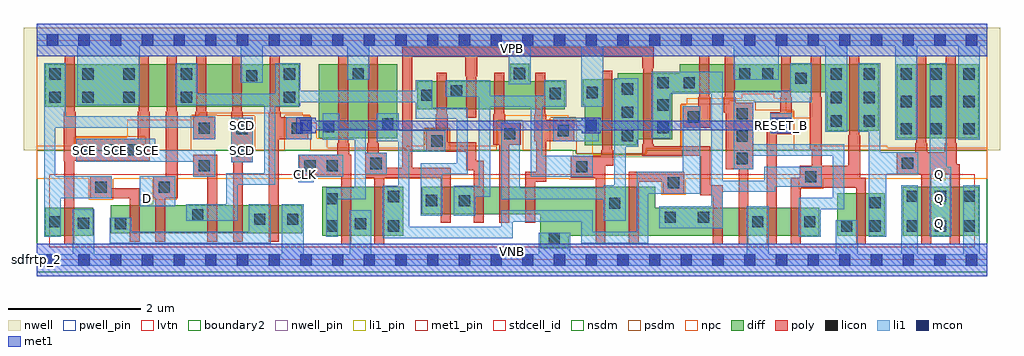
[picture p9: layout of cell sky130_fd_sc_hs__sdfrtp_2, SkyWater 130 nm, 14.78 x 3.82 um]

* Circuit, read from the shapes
.subckt sky130_fd_sc_hs__sdfrtp_2 CLK D Q RESET_B SCD SCE VGND VNB VPB VPWR
XM1 VGND SCE n1 VNB sky130_fd_pr__nfet_01v8_lvt w=0.42 l=0.15
XM2 n2 n1 n3 VNB sky130_fd_pr__nfet_01v8_lvt w=0.42 l=0.15
XM3 n4 D n2 VNB sky130_fd_pr__nfet_01v8_lvt w=0.42 l=0.15
XM4 n5 SCE n4 VNB sky130_fd_pr__nfet_01v8_lvt w=0.42 l=0.15
XM5 n3 SCD n5 VNB sky130_fd_pr__nfet_01v8_lvt w=0.42 l=0.15
XM6 VGND RESET_B n3 VNB sky130_fd_pr__nfet_01v8_lvt w=0.42 l=0.15
XM7 VGND CLK n6 VNB sky130_fd_pr__nfet_01v8_lvt w=0.74 l=0.15
XM8 n7 n6 VGND VNB sky130_fd_pr__nfet_01v8_lvt w=0.74 l=0.15
XM9 n8 n6 n4 VNB sky130_fd_pr__nfet_01v8_lvt w=0.42 l=0.15
XM10 n9 n7 n8 VNB sky130_fd_pr__nfet_01v8_lvt w=0.42 l=0.15
XM11 n10 n11 n9 VNB sky130_fd_pr__nfet_01v8_lvt w=0.42 l=0.15
XM12 VGND RESET_B n10 VNB sky130_fd_pr__nfet_01v8_lvt w=0.42 l=0.15
XM13 n11 n8 VGND VNB sky130_fd_pr__nfet_01v8_lvt w=0.74 l=0.15
XM14 n12 n7 n11 VNB sky130_fd_pr__nfet_01v8_lvt w=0.74 l=0.15
XM15 n13 n6 n12 VNB sky130_fd_pr__nfet_01v8_lvt w=0.42 l=0.15
XM16 VGND n14 n13 VNB sky130_fd_pr__nfet_01v8_lvt w=0.42 l=0.15
XM17 n15 RESET_B VGND VNB sky130_fd_pr__nfet_01v8_lvt w=0.42 l=0.15
XM18 n14 n12 n15 VNB sky130_fd_pr__nfet_01v8_lvt w=0.42 l=0.15
XM19 n16 n12 VGND VNB sky130_fd_pr__nfet_01v8_lvt w=0.64 l=0.15
XM20 Q n16 VGND VNB sky130_fd_pr__nfet_01v8_lvt w=0.74 l=0.15 m=2
XM21 VPWR SCE n1 VPB sky130_fd_pr__pfet_01v8 w=0.64 l=0.15
XM22 n17 SCE VPWR VPB sky130_fd_pr__pfet_01v8 w=0.64 l=0.15
XM23 n4 D n17 VPB sky130_fd_pr__pfet_01v8 w=0.64 l=0.15
XM24 n18 n1 n4 VPB sky130_fd_pr__pfet_01v8 w=0.64 l=0.15
XM25 VPWR SCD n18 VPB sky130_fd_pr__pfet_01v8 w=0.64 l=0.15
XM26 n4 RESET_B VPWR VPB sky130_fd_pr__pfet_01v8 w=0.64 l=0.15
XM27 VPWR CLK n6 VPB sky130_fd_pr__pfet_01v8 w=1.12 l=0.15
XM28 n7 n6 VPWR VPB sky130_fd_pr__pfet_01v8 w=1.12 l=0.15
XM29 n8 n7 n4 VPB sky130_fd_pr__pfet_01v8 w=0.42 l=0.15
XM30 n19 n6 n8 VPB sky130_fd_pr__pfet_01v8 w=0.42 l=0.15
XM31 VPWR n11 n19 VPB sky130_fd_pr__pfet_01v8 w=0.42 l=0.15
XM32 n8 RESET_B VPWR VPB sky130_fd_pr__pfet_01v8 w=0.42 l=0.15
XM33 n11 n8 VPWR VPB sky130_fd_pr__pfet_01v8 w=1 l=0.15
XM34 n12 n6 n11 VPB sky130_fd_pr__pfet_01v8 w=1 l=0.15
XM35 n20 n7 n12 VPB sky130_fd_pr__pfet_01v8 w=0.42 l=0.15
XM36 VPWR n14 n20 VPB sky130_fd_pr__pfet_01v8 w=0.42 l=0.15
XM37 n14 RESET_B VPWR VPB sky130_fd_pr__pfet_01v8 w=0.42 l=0.15
XM38 VPWR n12 n14 VPB sky130_fd_pr__pfet_01v8 w=0.42 l=0.15
XM39 n16 n12 VPWR VPB sky130_fd_pr__pfet_01v8 w=1 l=0.15
XM40 Q n16 VPWR VPB sky130_fd_pr__pfet_01v8 w=1.12 l=0.15 m=2
.ends

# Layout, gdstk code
import gdstk
lib = gdstk.Library(unit=1e-6, precision=1e-09)
def R(c, l, rs):  # rectangles x0, y0, x1, y1
    for r in rs: c.add(gdstk.rectangle(r[:2], r[2:], *l))
def A(c, l, x, y, w, h, nx, ny, dx, dy):  # array of equal rectangles
    R(c, l, [(x+i*dx, y+j*dy, x+i*dx+w, y+j*dy+h) for i in range(nx) for j in range(ny)])
def P(c, l, *ps):  # polygons
    for p in ps: c.add(gdstk.Polygon(p, *l))
nwell_pin = (64, 16)
nwell = (64, 20)
diff = (65, 20)
poly = (66, 20)
licon = (66, 44)
li1_pin = (67, 16)
li1 = (67, 20)
mcon = (67, 44)
met1_pin = (68, 16)
met1 = (68, 20)
stdcell_id = (81, 4)
nsdm = (93, 44)
psdm = (94, 20)
npc = (95, 20)
pwell_pin = (122, 16)
lvtn = (125, 44)
boundary2 = (236, 0)

sky130_fd_sc_hs__sdfrtp_ = lib.new_cell('sky130_fd_sc_hs__sdfrtp_2')
R(sky130_fd_sc_hs__sdfrtp_, nwell_pin, [(0,3.085,14.4,3.33)])
P(sky130_fd_sc_hs__sdfrtp_, nwell, [(14.59,3.52),(-0.19,3.52),(-0.19,1.66),(8.12,1.66),(8.12,1.555),(9.78,1.555),(9.78,1.66),(14.59,1.66)])
R(sky130_fd_sc_hs__sdfrtp_, diff, [(0.135,0.37,0.855,0.79), (4.33,0.37,5.55,1.11), (12.125,0.37,12.845,1.01), (13.115,0.37,14.265,1.11), (1.125,0.405,4.025,0.825), (4.275,1.84,5.465,2.96), (13.025,1.84,14.265,2.96), (0.135,2.32,3.975,2.96)])
P(sky130_fd_sc_hs__sdfrtp_, diff, [(8,2.705),(7.465,2.705),(7.465,2.97),(7.17,2.97),(7.17,2.705),(5.765,2.705),(5.765,2.285),(8,2.285)],
  [(11.855,0.79),(9.37,0.79),(9.37,1.11),(5.835,1.11),(5.835,0.69),(7.625,0.69),(7.625,0.18),(8.06,0.18),(8.06,0.37),(11.855,0.37)],
  [(12.755,2.96),(9.74,2.96),(9.74,2.83),(8.805,2.83),(8.805,2.735),(8.27,2.735),(8.27,2.34),(8.3,2.34),(8.3,1.735),(9.095,1.735),(9.095,1.83),(9.625,1.83),(9.625,2.54),(11.965,2.54),(11.965,1.96),(12.755,1.96)])
P(sky130_fd_sc_hs__sdfrtp_, poly, [(7.33,2.075),(7.095,2.075),(7.095,2.21),(7.08,2.21),(7.08,2.835),(6.93,2.835),(6.93,2.21),(6.915,2.21),(6.915,1.745),(7.01,1.745),(7.01,0.56),(7.16,0.56),(7.16,1.745),(7.33,1.745)],
  [(6.77,1.505),(6.66,1.505),(6.66,1.785),(6.23,1.785),(6.23,1.965),(6.225,1.965),(6.225,2.21),(6.21,2.21),(6.21,2.835),(6.06,2.835),(6.06,2.21),(6.045,2.21),(6.045,1.965),(5.9,1.965),(5.9,1.635),(6.51,1.635),(6.51,1.355),(6.62,1.355),(6.62,0.56),(6.77,0.56)],
  [(4.765,1.59),(4.735,1.59),(4.735,1.765),(4.72,1.765),(4.72,3.09),(4.57,3.09),(4.57,1.765),(4.555,1.765),(4.555,1.59),(3.975,1.59),(3.975,1.26),(4.615,1.26),(4.615,0.24),(4.765,0.24)],
  [(4.115,2.16),(3.695,2.16),(3.695,2.245),(3.68,2.245),(3.68,3.09),(3.53,3.09),(3.53,2.245),(3.515,2.245),(3.515,1.83),(3.52,1.83),(3.52,0.275),(3.67,0.275),(3.67,1.83),(4.115,1.83)],
  [(3.275,2.15),(3.125,2.15),(3.125,2.245),(3.11,2.245),(3.11,3.09),(2.96,3.09),(2.96,2.245),(2.945,2.245),(2.945,1.48),(2.975,1.48),(2.975,0.275),(3.125,0.275),(3.125,1.48),(3.275,1.48)],
  [(2.735,1.59),(2.375,1.59),(2.375,1.26),(2.585,1.26),(2.585,0.275),(2.735,0.275)],
  [(2.705,2.16),(2.585,2.16),(2.585,2.245),(2.57,2.245),(2.57,3.09),(2.42,3.09),(2.42,2.245),(2.405,2.245),(2.405,2.16),(2.375,2.16),(2.375,1.83),(2.705,1.83)],
  [(2.135,2.245),(2.12,2.245),(2.12,3.09),(1.97,3.09),(1.97,2.245),(1.955,2.245),(1.955,1.265),(1.77,1.265),(1.77,0.935),(1.8,0.935),(1.8,0.275),(1.95,0.275),(1.95,0.935),(2.135,0.935)],
  [(1.715,2.245),(1.7,2.245),(1.7,3.09),(1.55,3.09),(1.55,2.245),(1.535,2.245),(1.535,1.835),(0.595,1.835),(0.595,2.245),(0.58,2.245),(0.58,3.09),(0.43,3.09),(0.43,2.245),(0.415,2.245),(0.415,1.505),(0.42,1.505),(0.42,0.24),(0.57,0.24),(0.57,1.505),(1.715,1.505)],
  [(1.56,1.085),(1.14,1.085),(1.14,1.265),(0.81,1.265),(0.81,0.935),(1.41,0.935),(1.41,0.275),(1.56,0.275)],
  [(8.14,2.125),(7.72,2.125),(7.72,2.21),(7.705,2.21),(7.705,2.835),(7.555,2.835),(7.555,2.21),(7.54,2.21),(7.54,1.795),(7.57,1.795),(7.57,1.335),(7.4,1.335),(7.4,0.56),(7.55,0.56),(7.55,1.185),(7.72,1.185),(7.72,1.795),(8.14,1.795)],
  [(8.73,1.66),(8.715,1.66),(8.715,2.865),(8.565,2.865),(8.565,1.66),(8.55,1.66),(8.55,1.575),(8.09,1.575),(8.09,1.245),(8.465,1.245),(8.465,0.24),(8.615,0.24),(8.615,1.425),(8.73,1.425)],
  [(9.81,1.335),(8.97,1.335),(8.97,0.24),(9.12,0.24),(9.12,1.185),(9.48,1.185),(9.48,1.005),(9.81,1.005)],
  [(10.2,2.465),(10.185,2.465),(10.185,3.09),(10.035,3.09),(10.035,2.465),(10.02,2.465),(10.02,2.33),(9.785,2.33),(9.785,2),(10.2,2)],
  [(10.39,1.13),(10.2,1.13),(10.2,1.725),(9.35,1.725),(9.35,1.755),(9.335,1.755),(9.335,2.905),(9.35,2.905),(9.35,3.225),(5.54,3.225),(5.54,1.395),(5.305,1.395),(5.305,1.625),(5.185,1.625),(5.185,1.765),(5.17,1.765),(5.17,3.09),(5.02,3.09),(5.02,1.765),(5.005,1.765),(5.005,1.625),(4.975,1.625),(4.975,1.245),(5.115,1.245),(5.115,0.24),(5.265,0.24),(5.265,1.245),(6.12,1.245),(6.12,0.56),(6.27,0.56),(6.27,1.395),(5.69,1.395),(5.69,3.075),(6.495,3.075),(6.495,2.78),(6.51,2.78),(6.51,2.155),(6.66,2.155),(6.66,2.78),(6.675,2.78),(6.675,3.075),(9.17,3.075),(9.17,2.905),(9.185,2.905),(9.185,1.755),(9.17,1.755),(9.17,1.575),(10.05,1.575),(10.05,0.98),(10.24,0.98),(10.24,0.24),(10.39,0.24)],
  [(10.85,2.38),(10.59,2.38),(10.59,2.465),(10.575,2.465),(10.575,3.09),(10.425,3.09),(10.425,2.465),(10.41,2.465),(10.41,2.23),(10.44,2.23),(10.44,1.37),(10.63,1.37),(10.63,0.24),(10.78,0.24),(10.78,1.37),(10.85,1.37)],
  [(11.44,2.465),(11.425,2.465),(11.425,3.09),(11.275,3.09),(11.275,2.465),(11.26,2.465),(11.26,2.235),(11.11,2.235),(11.11,2.055),(11.06,2.055),(11.06,0.24),(11.21,0.24),(11.21,1.905),(11.44,1.905)],
  [(12.56,1.245),(12.475,1.245),(12.475,1.885),(12.46,1.885),(12.46,3.09),(12.31,3.09),(12.31,1.885),(12.295,1.885),(12.295,1.425),(11.89,1.425),(11.89,2.465),(11.875,2.465),(11.875,3.09),(11.725,3.09),(11.725,2.465),(11.71,2.465),(11.71,1.665),(11.74,1.665),(11.74,1.425),(11.56,1.425),(11.56,1.245),(11.42,1.245),(11.42,0.24),(11.57,0.24),(11.57,1.095),(12.41,1.095),(12.41,0.24),(12.56,0.24)],
  [(13.98,1.45),(13.935,1.45),(13.935,1.765),(13.92,1.765),(13.92,3.09),(13.77,3.09),(13.77,1.765),(13.755,1.765),(13.755,1.63),(13.485,1.63),(13.485,1.765),(13.47,1.765),(13.47,3.09),(13.32,3.09),(13.32,1.765),(13.305,1.765),(13.305,1.63),(13.025,1.63),(13.025,1.3),(13.4,1.3),(13.4,0.24),(13.55,0.24),(13.55,1.3),(13.83,1.3),(13.83,0.24),(13.98,0.24)])
A(sky130_fd_sc_hs__sdfrtp_, licon, 13.175, 0.43, 0.17, 0.17, 3, 2, 0.43, 0.45)
A(sky130_fd_sc_hs__sdfrtp_, licon, 10.6, 1.45, 0.17, 0.17, 1, 3, 0, 0.34)
A(sky130_fd_sc_hs__sdfrtp_, licon, 0.685, 1.585, 0.17, 0.17, 3, 1, 0.34, 0)
A(sky130_fd_sc_hs__sdfrtp_, licon, 8.865, 1.795, 0.17, 0.17, 1, 3, 0, 0.355)
A(sky130_fd_sc_hs__sdfrtp_, licon, 13.085, 1.9, 0.17, 0.17, 1, 3, 0, 0.415)
A(sky130_fd_sc_hs__sdfrtp_, licon, 13.535, 1.9, 0.17, 0.17, 1, 3, 0, 0.415)
A(sky130_fd_sc_hs__sdfrtp_, licon, 14.035, 1.9, 0.17, 0.17, 1, 3, 0, 0.415)
A(sky130_fd_sc_hs__sdfrtp_, licon, 9.4, 1.92, 0.17, 0.17, 1, 3, 0, 0.34)
A(sky130_fd_sc_hs__sdfrtp_, licon, 12.025, 2.02, 0.17, 0.17, 1, 3, 0, 0.355)
A(sky130_fd_sc_hs__sdfrtp_, licon, 12.525, 2.02, 0.17, 0.17, 1, 3, 0, 0.355)
R(sky130_fd_sc_hs__sdfrtp_, licon, [(7.755,0.24,7.925,0.41), (4.39,0.43,4.56,0.6), (5.32,0.43,5.49,0.6), (12.185,0.43,12.355,0.6), (12.615,0.43,12.785,0.6), (1.185,0.465,1.355,0.635), (4.82,0.465,4.99,0.635), (0.625,0.47,0.795,0.64), (0.195,0.495,0.365,0.665), (10.835,0.495,11.005,0.665), (11.625,0.495,11.795,0.665), (3.295,0.53,3.465,0.7), (3.795,0.53,3.965,0.7), (9.51,0.56,9.68,0.73), (10.015,0.56,10.185,0.73), (2.355,0.595,2.525,0.765), (8.67,0.775,8.84,0.945), (12.615,0.78,12.785,0.95), (6.395,0.81,6.565,0.98), (5.895,0.815,6.065,0.985), (4.39,0.84,4.56,1.01), (5.32,0.875,5.49,1.045), (0.89,1.015,1.06,1.185), (1.85,1.015,2.02,1.185), (9.56,1.085,9.73,1.255), (11.64,1.175,11.81,1.345), (8.17,1.325,8.34,1.495), (2.455,1.34,2.625,1.51), (4.055,1.34,4.225,1.51), (4.395,1.34,4.565,1.51), (5.055,1.375,5.225,1.545), (13.105,1.38,13.275,1.55), (3.025,1.56,3.195,1.73), (5.98,1.715,6.15,1.885), (7.08,1.825,7.25,1.995), (7.89,1.875,8.06,2.045), (3.025,1.9,3.195,2.07), (2.455,1.91,2.625,2.08), (3.865,1.91,4.035,2.08), (4.335,1.935,4.505,2.105), (5.235,1.975,5.405,2.145), (11.19,1.985,11.36,2.155), (9.865,2.08,10.035,2.25), (0.195,2.38,0.365,2.55), (0.695,2.38,0.865,2.55), (1.315,2.38,1.485,2.55), (2.185,2.38,2.355,2.55), (3.745,2.38,3.915,2.55), (5.825,2.41,5.995,2.58), (7.77,2.435,7.94,2.605), (8.33,2.45,8.5,2.62), (6.275,2.475,6.445,2.645), (9.8,2.6,9.97,2.77), (11.49,2.665,11.66,2.835), (3.175,2.705,3.345,2.875), (0.195,2.73,0.365,2.9), (0.695,2.73,0.865,2.9), (1.315,2.73,1.485,2.9), (2.185,2.73,2.355,2.9), (3.745,2.73,3.915,2.9), (4.785,2.73,4.955,2.9), (10.64,2.73,10.81,2.9), (10.99,2.73,11.16,2.9), (7.23,2.74,7.4,2.91)])
A(sky130_fd_sc_hs__sdfrtp_, li1_pin, 13.595, 0.47, 0.17, 0.17, 1, 3, 0, 0.37)
A(sky130_fd_sc_hs__sdfrtp_, li1_pin, 0.635, 1.58, 0.17, 0.17, 3, 1, 0.48, 0)
R(sky130_fd_sc_hs__sdfrtp_, li1_pin, [(1.595,0.84,1.765,1.01), (3.995,1.21,4.165,1.38), (3.035,1.58,3.205,1.75), (3.035,1.95,3.205,2.12)])
R(sky130_fd_sc_hs__sdfrtp_, li1, [(1.565,0.81,2.1,1.265), (2.945,1.48,3.275,2.15), (7.825,1.795,8.515,2.15), (3.785,1.83,4.165,2.16), (11.11,1.92,11.44,2.22)])
P(sky130_fd_sc_hs__sdfrtp_, li1, [(3.445,2.345),(2.105,2.345),(2.105,2.98),(2.435,2.98),(2.435,2.515),(3.615,2.515),(3.615,2.98),(3.995,2.98),(3.995,2.56),(5.745,2.56),(5.745,2.725),(5.995,2.725),(5.995,2.305),(6.53,2.305),(6.53,1.295),(6.145,1.295),(6.145,0.67),(5.815,0.67),(5.815,1.465),(6.36,1.465),(6.36,2.135),(5.745,2.135),(5.745,2.39),(3.995,2.39),(3.995,2.33),(3.615,2.33),(3.615,1.14),(3.045,1.14),(3.045,0.595),(2.27,0.595),(2.27,0.845),(2.875,0.845),(2.875,1.31),(3.445,1.31)],
  [(0.115,0.35),(0.115,2.98),(0.445,2.98),(0.445,2.175),(2.705,2.175),(2.705,1.83),(2.375,1.83),(2.375,2.005),(0.285,2.005),(0.285,1.265),(1.14,1.265),(1.14,0.935),(0.365,0.935),(0.365,0.35)],
  [(11.945,1.94),(11.945,3.245),(11.24,3.245),(11.24,2.73),(10.56,2.73),(10.56,3.245),(8.58,3.245),(8.58,2.32),(8.25,2.32),(8.25,3.245),(7.485,3.245),(7.485,2.66),(7.15,2.66),(7.15,3.245),(5.035,3.245),(5.035,2.73),(4.705,2.73),(4.705,3.245),(3.425,3.245),(3.425,2.685),(3.095,2.685),(3.095,3.245),(1.565,3.245),(1.565,2.345),(0.615,2.345),(0.615,3.245),(0,3.245),(0,3.415),(14.4,3.415),(14.4,3.245),(14.285,3.245),(14.285,1.82),(13.955,1.82),(13.955,3.245),(13.335,3.245),(13.335,1.82),(13.005,1.82),(13.005,3.245),(12.275,3.245),(12.275,1.94)],
  [(10.755,0.085),(10.755,0.81),(11.085,0.81),(11.085,0.085),(12.105,0.085),(12.105,0.6),(12.435,0.6),(12.435,0.085),(13.095,0.085),(13.095,1.13),(13.345,1.13),(13.345,0.085),(14.035,0.085),(14.035,1.13),(14.285,1.13),(14.285,0.085),(14.4,0.085),(14.4,-0.085),(0,-0.085),(0,0.085),(0.545,0.085),(0.545,0.765),(0.875,0.765),(0.875,0.085),(3.715,0.085),(3.715,0.845),(4.045,0.845),(4.045,0.085),(4.74,0.085),(4.74,0.75),(5.07,0.75),(5.07,0.085),(7.605,0.085),(7.605,0.41),(8.08,0.41),(8.08,0.085)],
  [(1.795,1.66),(2.705,1.66),(2.705,1.26),(2.375,1.26),(2.375,1.49),(0.605,1.49),(0.605,1.835),(1.795,1.835)],
  [(4.645,1.59),(4.645,1.26),(4.195,1.26),(4.195,1.18),(3.965,1.18),(3.965,1.59)],
  [(13.525,0.35),(13.525,2.98),(13.785,2.98),(13.785,1.41),(13.855,1.41),(13.855,0.35)],
  [(11.89,1.41),(11.02,1.41),(11.02,1.2),(10.39,1.2),(10.39,2.85),(9.32,2.85),(9.32,1.84),(9.6,1.84),(9.6,2.52),(10.22,2.52),(10.22,0.81),(9.43,0.81),(9.43,0.48),(10.39,0.48),(10.39,1.03),(11.19,1.03),(11.19,1.11),(11.89,1.11)],
  [(12.775,1.63),(13.355,1.63),(13.355,1.3),(12.865,1.3),(12.865,0.35),(12.605,0.35),(12.605,1.94),(12.445,1.94),(12.445,2.98),(12.775,2.98)],
  [(6.87,2.49),(7.69,2.49),(7.69,2.725),(8.02,2.725),(8.02,2.32),(7.655,2.32),(7.655,1.575),(8.42,1.575),(8.42,1.26),(7.485,1.26),(7.485,2.32),(6.87,2.32),(6.87,0.955),(6.645,0.955),(6.645,0.67),(6.315,0.67),(6.315,1.125),(6.7,1.125),(6.7,2.475),(6.195,2.475),(6.195,2.725),(6.87,2.725)],
  [(12.06,0.94),(12.06,1.58),(10.85,1.58),(10.85,1.37),(10.56,1.37),(10.56,2.56),(11.41,2.56),(11.41,2.98),(11.74,2.98),(11.74,2.39),(10.85,2.39),(10.85,1.75),(12.23,1.75),(12.23,0.77),(11.875,0.77),(11.875,0.35),(11.545,0.35),(11.545,0.94)],
  [(5.475,1.125),(5.475,1.795),(5.155,1.795),(5.155,2.22),(5.485,2.22),(5.485,1.965),(6.19,1.965),(6.19,1.635),(5.645,1.635),(5.645,0.5),(7.04,0.5),(7.04,0.75),(8.42,0.75),(8.42,0.425),(9.09,0.425),(9.09,1.335),(9.785,1.335),(9.785,2.33),(10.05,2.33),(10.05,1.005),(9.26,1.005),(9.26,0.255),(8.25,0.255),(8.25,0.58),(7.21,0.58),(7.21,0.33),(5.24,0.33),(5.24,1.125)],
  [(4.815,1.09),(4.815,1.82),(4.335,1.82),(4.335,2.22),(4.585,2.22),(4.585,1.99),(4.985,1.99),(4.985,1.625),(5.305,1.625),(5.305,1.295),(4.985,1.295),(4.985,0.92),(4.56,0.92),(4.56,0.35),(4.39,0.35),(4.39,1.09)],
  [(1.435,0.425),(3.215,0.425),(3.215,0.845),(3.545,0.845),(3.545,0.255),(1.105,0.255),(1.105,0.64),(1.435,0.64)],
  [(7.04,0.92),(7.04,2.075),(7.315,2.075),(7.315,1.09),(8.59,1.09),(8.59,1.13),(8.75,1.13),(8.75,2.755),(9.115,2.755),(9.115,1.715),(8.92,1.715),(8.92,0.595),(8.59,0.595),(8.59,0.92)])
A(sky130_fd_sc_hs__sdfrtp_, mcon, 0.155, -0.085, 0.17, 0.17, 30, 2, 0.48, 3.33)
R(sky130_fd_sc_hs__sdfrtp_, mcon, [(3.995,1.95,4.165,2.12), (8.315,1.95,8.485,2.12), (11.195,1.95,11.365,2.12)])
R(sky130_fd_sc_hs__sdfrtp_, met1_pin, [(0,0,14.4,0.245), (11.195,1.95,11.365,2.12), (0,3.085,14.4,3.33)])
R(sky130_fd_sc_hs__sdfrtp_, met1, [(0,-0.245,14.4,0.245), (0,3.085,14.4,3.575)])
P(sky130_fd_sc_hs__sdfrtp_, met1, [(4.225,2.105),(8.255,2.105),(8.255,2.15),(8.545,2.15),(8.545,2.105),(11.135,2.105),(11.135,2.15),(11.425,2.15),(11.425,1.92),(11.135,1.92),(11.135,1.965),(8.545,1.965),(8.545,1.92),(8.255,1.92),(8.255,1.965),(4.225,1.965),(4.225,1.92),(3.935,1.92),(3.935,2.15),(4.225,2.15)])
R(sky130_fd_sc_hs__sdfrtp_, stdcell_id, [(0,0,14.4,3.33)])
P(sky130_fd_sc_hs__sdfrtp_, nsdm, [(14.4,1.66),(9.225,1.66),(9.225,1.605),(8.17,1.605),(8.17,1.66),(0,1.66),(0,-0.19),(14.4,-0.19)])
P(sky130_fd_sc_hs__sdfrtp_, psdm, [(14.4,3.52),(0,3.52),(0,1.66),(0.575,1.66),(0.575,1.865),(1.645,1.865),(1.645,1.66),(2.345,1.66),(2.345,2.19),(2.735,2.19),(2.735,2.18),(3.305,2.18),(3.305,1.66),(3.755,1.66),(3.755,2.19),(4.145,2.19),(4.145,1.66),(5.87,1.66),(5.87,1.995),(6.26,1.995),(6.26,1.66),(6.97,1.66),(6.97,2.105),(7.36,2.105),(7.36,1.66),(7.78,1.66),(7.78,2.155),(8.17,2.155),(8.17,1.605),(9.225,1.605),(9.225,1.66),(9.755,1.66),(9.755,2.36),(10.49,2.36),(10.49,2.41),(10.88,2.41),(10.88,2.265),(11.47,2.265),(11.47,1.66),(14.4,1.66)])
P(sky130_fd_sc_hs__sdfrtp_, npc, [(14.4,1.7),(12.885,1.7),(12.885,1.73),(11.725,1.73),(11.725,2.15),(11.46,2.15),(11.46,2.255),(11.355,2.255),(11.355,2.45),(11.17,2.45),(11.17,2.52),(10.68,2.52),(10.68,2.45),(9.845,2.45),(9.845,2.35),(9.765,2.35),(9.765,1.69),(9.235,1.69),(9.235,1.595),(8.425,1.595),(8.425,2.04),(8.16,2.04),(8.16,2.145),(8.055,2.145),(8.055,2.195),(7.085,2.195),(7.085,2.095),(6.98,2.095),(6.98,1.73),(6.25,1.73),(6.25,1.985),(5.88,1.985),(5.88,1.73),(5.605,1.73),(5.605,1.7),(4.4,1.7),(4.4,1.845),(4.245,1.845),(4.245,2.075),(4.135,2.075),(4.135,2.18),(4.03,2.18),(4.03,2.23),(2.46,2.23),(2.46,2.18),(2.355,2.18),(2.355,2.12),(1.37,2.12),(1.37,1.855),(0.585,1.855),(0.585,1.73),(0,1.73),(0,1.23),(0.79,1.23),(0.79,0.915),(1.16,0.915),(1.16,1.23),(1.75,1.23),(1.75,0.915),(2.12,0.915),(2.12,1.23),(8.07,1.23),(8.07,1.225),(8.44,1.225),(8.44,1.23),(9.46,1.23),(9.46,0.985),(9.83,0.985),(9.83,1.23),(11.54,1.23),(11.54,1.075),(11.91,1.075),(11.91,1.23),(14.4,1.23)])
R(sky130_fd_sc_hs__sdfrtp_, pwell_pin, [(0,0,14.4,0.245)])
R(sky130_fd_sc_hs__sdfrtp_, lvtn, [(0.19,0.19,14.21,1.3)])
R(sky130_fd_sc_hs__sdfrtp_, boundary2, [(0,0,14.4,3.33)])
sky130_fd_sc_hs__sdfrtp_.add(gdstk.Label('sdfrtp_2', (0,0), layer=83, texttype=44))
sky130_fd_sc_hs__sdfrtp_.add(gdstk.Label('VNB', (7.2,0.123), layer=64, texttype=59))
sky130_fd_sc_hs__sdfrtp_.add(gdstk.Label('VPB', (7.2,3.208), layer=64, texttype=5))
sky130_fd_sc_hs__sdfrtp_.add(gdstk.Label('RESET_B', (11.28,2.035), layer=68, texttype=5))
sky130_fd_sc_hs__sdfrtp_.add(gdstk.Label('VPWR', (7.2,3.208), layer=68, texttype=5))
sky130_fd_sc_hs__sdfrtp_.add(gdstk.Label('VGND', (7.2,0.123), layer=68, texttype=5))
sky130_fd_sc_hs__sdfrtp_.add(gdstk.Label('D', (1.68,0.925), layer=67, texttype=5))
sky130_fd_sc_hs__sdfrtp_.add(gdstk.Label('SCE', (0.72,1.665), layer=67, texttype=5))
sky130_fd_sc_hs__sdfrtp_.add(gdstk.Label('SCE', (1.2,1.665), layer=67, texttype=5))
sky130_fd_sc_hs__sdfrtp_.add(gdstk.Label('SCE', (1.68,1.665), layer=67, texttype=5))
sky130_fd_sc_hs__sdfrtp_.add(gdstk.Label('SCD', (3.12,1.665), layer=67, texttype=5))
sky130_fd_sc_hs__sdfrtp_.add(gdstk.Label('SCD', (3.12,2.035), layer=67, texttype=5))
sky130_fd_sc_hs__sdfrtp_.add(gdstk.Label('CLK', (4.08,1.295), layer=67, texttype=5))
sky130_fd_sc_hs__sdfrtp_.add(gdstk.Label('Q', (13.68,0.555), layer=67, texttype=5))
sky130_fd_sc_hs__sdfrtp_.add(gdstk.Label('Q', (13.68,0.925), layer=67, texttype=5))
sky130_fd_sc_hs__sdfrtp_.add(gdstk.Label('Q', (13.68,1.295), layer=67, texttype=5))

lib.write_gds('sky130_fd_sc_hs__sdfrtp_2.gds')
